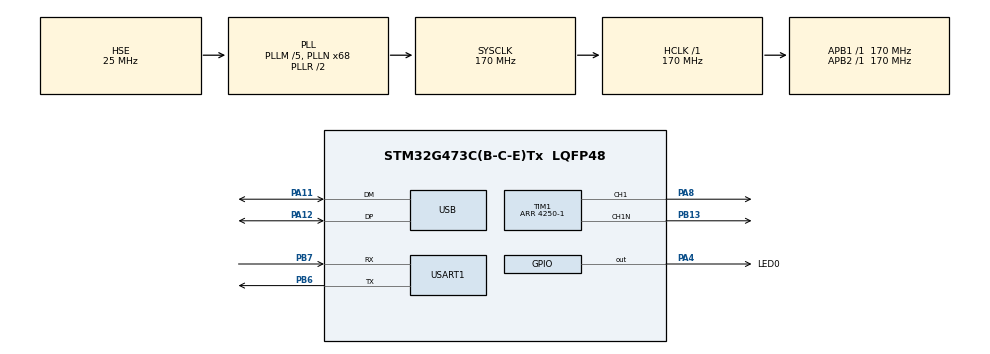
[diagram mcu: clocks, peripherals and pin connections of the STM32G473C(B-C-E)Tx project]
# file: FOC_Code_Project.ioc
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Mcu.Family=STM32G4
Mcu.Name=STM32G473C(B-C-E)Tx
Mcu.Package=LQFP48
NVIC.PriorityGroup=NVIC_PRIORITYGROUP_4
NVIC.TIM1_UP_TIM16_IRQn=true\:1\:0\:true\:false\:true\:true\:true\:true
NVIC.USB_LP_IRQn=true\:2\:0\:true\:false\:true\:true\:true\:true
PA10.GPIO_Speed=GPIO_SPEED_FREQ_HIGH
PA10.Signal=S_TIM1_CH3
PA11.Mode=Device
PA11.Signal=USB_DM
PA12.Mode=Device
PA12.Signal=USB_DP
PA13.Mode=Serial_Wire
PA13.Signal=SYS_JTMS-SWDIO
PA14.Mode=Serial_Wire
PA14.Signal=SYS_JTCK-SWCLK
PA4.GPIO_Label=LED0
PA4.GPIO_PuPd=GPIO_PULLDOWN
PA4.Signal=GPIO_Output
PA8.GPIO_Speed=GPIO_SPEED_FREQ_HIGH
PA8.Signal=S_TIM1_CH1
PA9.GPIO_Speed=GPIO_SPEED_FREQ_HIGH
PA9.Signal=S_TIM1_CH2
PB13.GPIO_Speed=GPIO_SPEED_FREQ_HIGH
PB13.Mode=PWM Generation1 CH1 CH1N
PB13.Signal=TIM1_CH1N
PB14.GPIO_Speed=GPIO_SPEED_FREQ_HIGH
PB14.Signal=TIM1_CH2N
PB15.GPIO_Speed=GPIO_SPEED_FREQ_HIGH
PB15.Signal=TIM1_CH3N
PB6.Mode=Asynchronous
PB6.Signal=USART1_TX
PB7.Mode=Asynchronous
PB7.Signal=USART1_RX
PF0-OSC_IN.Mode=HSE-External-Oscillator
PF0-OSC_IN.Signal=RCC_OSC_IN
PF1-OSC_OUT.Mode=HSE-External-Oscillator
PF1-OSC_OUT.Signal=RCC_OSC_OUT
ProjectManager.HeapSize=0x00
ProjectManager.StackSize=0x400
ProjectManager.TargetToolchain=CMake
RCC.ADC12Freq_Value=170000000
RCC.ADC345Freq_Value=170000000
RCC.AHBFreq_Value=170000000
RCC.APB1Freq_Value=170000000
RCC.APB1TimFreq_Value=170000000
RCC.APB2Freq_Value=170000000
RCC.APB2TimFreq_Value=170000000
RCC.CK48CLockSelection=RCC_USBCLKSOURCE_HSI48
RCC.CortexFreq_Value=170000000
RCC.EXTERNAL_CLOCK_VALUE=12288000
RCC.HCLKFreq_Value=170000000
RCC.HSE_VALUE=25000000
RCC.HSI48_VALUE=48000000
RCC.HSI_VALUE=16000000
RCC.LSE_VALUE=32768
RCC.PLLM=RCC_PLLM_DIV5
RCC.PLLN=68
RCC.PLLQ=RCC_PLLQ_DIV8
RCC.PLLSourceVirtual=RCC_PLLSOURCE_HSE
RCC.SYSCLKFreq_VALUE=170000000
RCC.SYSCLKSource=RCC_SYSCLKSOURCE_PLLCLK
RCC.USBFreq_Value=48000000
RCC.VCOOutputFreq_Value=340000000
SH.S_TIM1_CH1.0=TIM1_CH1,PWM Generation1 CH1 CH1N
SH.S_TIM1_CH2.0=TIM1_CH2
SH.S_TIM1_CH3.0=TIM1_CH3
TIM1.AutoReloadPreload=TIM_AUTORELOAD_PRELOAD_ENABLE
TIM1.Channel-PWM\ Generation1\ CH1\ CH1N=TIM_CHANNEL_1
TIM1.Channel-PWM\ Generation2\ No\ Output=TIM_CHANNEL_2
TIM1.Channel-PWM\ Generation3\ No\ Output=TIM_CHANNEL_3
TIM1.Channel-PWM\ Generation4\ No\ Output=TIM_CHANNEL_4
TIM1.CounterMode=TIM_COUNTERMODE_CENTERALIGNED1
TIM1.DeadTime=40
TIM1.OC4Preload_PWM=DISABLE
TIM1.OCMode_PWM-PWM\ Generation1\ CH1\ CH1N=TIM_OCMODE_PWM2
TIM1.OCMode_PWM-PWM\ Generation2\ No\ Output=TIM_OCMODE_PWM2
TIM1.OCMode_PWM-PWM\ Generation3\ No\ Output=TIM_OCMODE_PWM2
TIM1.OCMode_PWM-PWM\ Generation4\ No\ Output=TIM_OCMODE_PWM2
TIM1.PeriodNoDither=4250-1
TIM1.PulseNoDither_1=2125
TIM1.PulseNoDither_2=2125
TIM1.PulseNoDither_3=2125
TIM1.PulseNoDither_4=2125
TIM1.TIM_MasterOutputTrigger=TIM_TRGO_OC4REF
TIM1.TIM_MasterSlaveMode=TIM_MASTERSLAVEMODE_DISABLE
USART1.VirtualMode-Asynchronous=VM_ASYNC
USB_DEVICE.CLASS_NAME_FS=CDC
USB_DEVICE.VirtualMode=Cdc
USB_DEVICE.VirtualModeFS=Cdc_FS
VP_CRC_VS_CRC.Mode=CRC_Activate
VP_SYS_VS_DBSignals.Mode=DisableDeadBatterySignals
VP_SYS_V_VREFBUF.Mode=ExternalMode
VP_TIM1_VS_ClockSourceINT.Mode=Internal
VP_TIM1_VS_no_output2.Mode=PWM Generation2 No Output
VP_TIM1_VS_no_output3.Mode=PWM Generation3 No Output
VP_TIM1_VS_no_output4.Mode=PWM Generation4 No Output
VP_USB_DEVICE_VS_USB_DEVICE_CDC_FS.Mode=CDC_FS
board=custom

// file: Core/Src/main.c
/* USER CODE BEGIN Header */
/**
  ******************************************************************************
  * @file           : main.c
  * @brief          : Main program body
  ******************************************************************************
  * @attention
  *
  * Copyright (c) 2026 STMicroelectronics.
  * All rights reserved.
  *
  * This software is licensed under terms that can be found in the LICENSE file
  * in the root directory of this software component.
  * If no LICENSE file comes with this software, it is provided AS-IS.
  *
  ******************************************************************************
  */
/* USER CODE END Header */
#include "main.h"
#include "tim.h"
#include "usart.h"
#include "usb_device.h"
#include "gpio.h"

/* USER CODE BEGIN Includes */
#include "bsp.h"
#include "debug.h"
#include "foc.h"
/* USER CODE END Includes */

/* USER CODE BEGIN PV */
static uint32_t g_last_tick = 0;
/* USER CODE END PV */

void SystemClock_Config(void);

int main(void)
{
  /* 第一件事：记录是什么把板子打回复位的（上电/欠压BOR/软件/看门狗）。
     必须在 HAL_Init 之前，否则标志可能已经被清掉。 */
  BSP_RecordResetCause();

  /* MCU Configuration--------------------------------------------------------*/

  /* Reset of all peripherals, Initializes the Flash interface and the Systick. */
  HAL_Init();

  /* USER CODE BEGIN Init */
  /* 默认总线/存储器/用法故障是不上报的，会被静默升级成 HardFault，
     丢掉 CFSR 细节。打开后可以知道到底是除零、非对齐访问还是野指针。 */
  SCB->SHCSR |= SCB_SHCSR_USGFAULTENA_Msk
              | SCB_SHCSR_BUSFAULTENA_Msk
              | SCB_SHCSR_MEMFAULTENA_Msk;
  /* USER CODE END Init */

  /* Configure the system clock */
  SystemClock_Config();
  /* USER CODE BEGIN SysInit */

    /* 使能 CRS 时钟 */
  __HAL_RCC_CRS_CLK_ENABLE();

  /* 配置 CRS：同步源 USB SOF，校准 HSI48 */
  RCC_CRSInitTypeDef CRS_Init = {0};
  CRS_Init.Prescaler             = RCC_CRS_SYNC_DIV1;
  CRS_Init.Source                = RCC_CRS_SYNC_SOURCE_USB;
  CRS_Init.Polarity              = RCC_CRS_SYNC_POLARITY_RISING;
  CRS_Init.ReloadValue           = RCC_CRS_RELOADVALUE_DEFAULT;
  CRS_Init.ErrorLimitValue       = RCC_CRS_ERRORLIMIT_DEFAULT;
  CRS_Init.HSI48CalibrationValue = RCC_CRS_HSI48CALIBRATION_DEFAULT;
  HAL_RCCEx_CRSConfig(&CRS_Init);

  /* 启动 CRS 自动微调 */
  SET_BIT(CRS->CR, CRS_CR_AUTOTRIMEN | CRS_CR_CEN);

  /* USER CODE END SysInit */

  /* Initialize all configured peripherals */
  MX_GPIO_Init();
  MX_TIM1_Init();
  MX_USART1_UART_Init();
  MX_USB_Device_Init();
  /* USER CODE BEGIN 2 */
  stack_paint();       /* 必须在所有深调用之前：涂满空闲栈区，用于测栈用量 */
  BSP_Init();
  /* USER CODE END 2 */

  /* Infinite loop */
  while (1)
  {

    /* USER CODE BEGIN 3 */
    static uint32_t s_led_tick = 0U;

    /* 心跳灯：250 ms 翻转一次 ≈ 2 Hz，肉眼可见。
     * 这是不依赖 USB 的存活指示：USB 掉了但灯还在闪 → MCU 活着；
     * 灯不闪了 → MCU 死机/复位循环。别再把 LED 当 2ms 流水灯用。 */
    if ((HAL_GetTick() - s_led_tick) >= 250U)
    {
        s_led_tick = HAL_GetTick();
        HAL_GPIO_TogglePin(LED0_GPIO_Port, LED0_Pin);
    }

    if ((HAL_GetTick() - g_last_tick) >= 2U)
    {
        g_last_tick = HAL_GetTick();
        Debug_Task();                                    // 同步上报 VOFA + 收命令
        if (g_foc_event_flag & FOC_EVENT_RAMP_DONE)
        {
            g_foc_event_flag &= ~FOC_EVENT_RAMP_DONE;
            printf("FOC: Ramp complete, %dHz\r\n",
                  (int)FOC_GetHandle()->current_freq);
        }
    }
  }
  /* USER CODE END 3 */
}

void SystemClock_Config(void)
{
  RCC_OscInitTypeDef RCC_OscInitStruct = {0};
  RCC_ClkInitTypeDef RCC_ClkInitStruct = {0};

  /** Configure the main internal regulator output voltage
  */
  HAL_PWREx_ControlVoltageScaling(PWR_REGULATOR_VOLTAGE_SCALE1_BOOST);

  /** Initializes the RCC Oscillators according to the specified parameters
  * in the RCC_OscInitTypeDef structure.
  */
  RCC_OscInitStruct.OscillatorType = RCC_OSCILLATORTYPE_HSI48|RCC_OSCILLATORTYPE_HSE;
  RCC_OscInitStruct.HSEState = RCC_HSE_ON;
  RCC_OscInitStruct.HSI48State = RCC_HSI48_ON;
  RCC_OscInitStruct.PLL.PLLState = RCC_PLL_ON;
  RCC_OscInitStruct.PLL.PLLSource = RCC_PLLSOURCE_HSE;
  RCC_OscInitStruct.PLL.PLLM = RCC_PLLM_DIV5;
  RCC_OscInitStruct.PLL.PLLN = 68;
  RCC_OscInitStruct.PLL.PLLP = RCC_PLLP_DIV2;
  RCC_OscInitStruct.PLL.PLLQ = RCC_PLLQ_DIV8;
  RCC_OscInitStruct.PLL.PLLR = RCC_PLLR_DIV2;
  if (HAL_RCC_OscConfig(&RCC_OscInitStruct) != HAL_OK)
  {
    Error_Handler();
  }

  /** Initializes the CPU, AHB and APB buses clocks
  */
  RCC_ClkInitStruct.ClockType = RCC_CLOCKTYPE_HCLK|RCC_CLOCKTYPE_SYSCLK
                              |RCC_CLOCKTYPE_PCLK1|RCC_CLOCKTYPE_PCLK2;
  RCC_ClkInitStruct.SYSCLKSource = RCC_SYSCLKSOURCE_PLLCLK;
  RCC_ClkInitStruct.AHBCLKDivider = RCC_SYSCLK_DIV1;
  RCC_ClkInitStruct.APB1CLKDivider = RCC_HCLK_DIV1;
  RCC_ClkInitStruct.APB2CLKDivider = RCC_HCLK_DIV1;

  if (HAL_RCC_ClockConfig(&RCC_ClkInitStruct, FLASH_LATENCY_4) != HAL_OK)
  {
    Error_Handler();
  }
}

void Error_Handler(void)
{
  __disable_irq();
  while (1)
  {
  }
}
